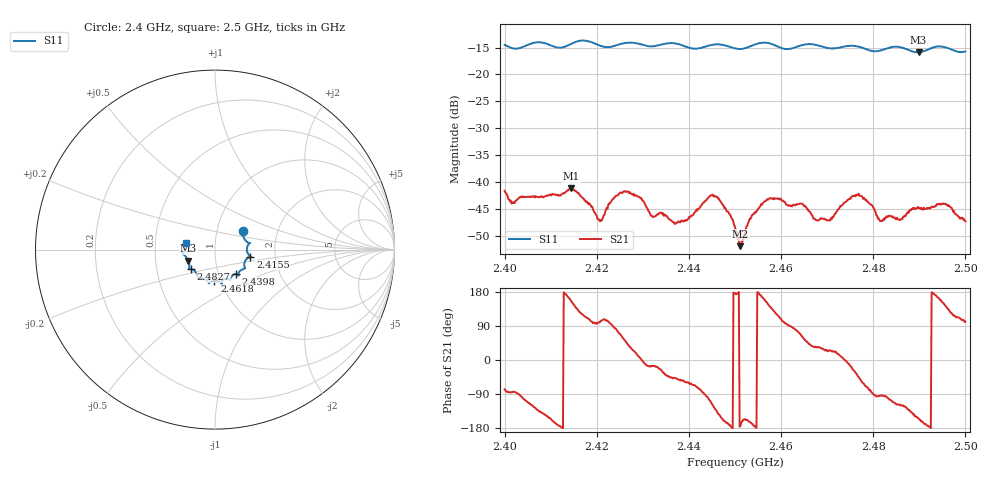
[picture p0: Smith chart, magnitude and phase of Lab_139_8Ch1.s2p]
# Hz S RI R 50
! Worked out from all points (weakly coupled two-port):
!   601 points, 2.4 GHz to 2.5 GHz, reference 50 ohm
!   highest |S21| = -41.22 dB at 2.4145 GHz (marker M1); lowest = -52.0 dB at 2.4512 GHz (marker M2)
!   lowest |S11| = -15.9 dB at 2.4898 GHz (marker M3), VSWR 1.38, Z = 36.9 - j4.65 ohm
!   |S11| at or under -10 dB: start of sweep to end of sweep
!   S12 and S22 are empty: the file has one direction only
!   S11 on the Smith chart (normalised r, x): 2.4 GHz: 1.33, +0.29; 2.4155 GHz: 1.49, -0.12; 2.4398 GHz: 1.21, -0.34; 2.4618 GHz: 0.94, -0.33; 2.4827 GHz: 0.75, -0.17; 2.5 GHz: 0.72, +0.06
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2.4e9  0.1555 0.1062  0.00179 -0.00807  0 0  0 0
2.402e9  0.1578 0.0737  0.000656 -0.00642  0 0  0 0
2.4145e9  0.1902 -0.0324  -0.00785 0.00373  0 0  0 0
2.4155e9  0.1974 -0.0394  -0.0061 0.00547  0 0  0 0
2.416667e9  0.2023 -0.0428  -0.0039 0.00615  0 0  0 0
2.420667e9  0.1786 -0.0499  -0.000715 0.00425  0 0  0 0
2.426167e9  0.1677 -0.1022  0.00519 0.00622  0 0  0 0
2.433333e9  0.1298 -0.1339  0.00466 -0.00173  0 0  0 0
2.439833e9  0.1155 -0.1358  0.00235 -0.00387  0 0  0 0
2.445333e9  0.0841 -0.1698  -0.00392 -0.00617  0 0  0 0
2.45e9  0.0652 -0.1623  -0.00379 0.000285  0 0  0 0
2.451167e9  0.0522 -0.1644  -0.00251 -0.000261  0 0  0 0
2.4565e9  0.0387 -0.1937  -0.00611 0.00249  0 0  0 0
2.461833e9  -0.00371 -0.1728  -4.36e-05 0.00602  0 0  0 0
2.466667e9  -0.0351 -0.1879  0.00391 0.00295  0 0  0 0
2.4705e9  -0.0531 -0.1671  0.00393 0.00189  0 0  0 0
2.476833e9  -0.0962 -0.1538  0.00549 -0.00547  0 0  0 0
2.482667e9  -0.1347 -0.1085  -0.000403 -0.00456  0 0  0 0
2.483333e9  -0.1398 -0.1082  -0.000961 -0.00473  0 0  0 0
2.489833e9  -0.148 -0.0614  -0.00514 -0.00248  0 0  0 0
2.4955e9  -0.1788 -0.0179  -0.00517 0.00346  0 0  0 0
2.5e9  -0.1594 0.0388  -0.000842 0.00422  0 0  0 0
